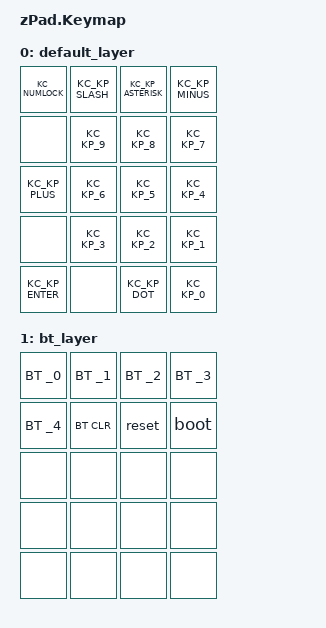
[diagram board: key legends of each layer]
/ {
    keymap {
        compatible = "zmk,keymap";

        default_layer {
            bindings = <
                &kp KC_NUMLOCK  &kp KC_KP_SLASH &kp KC_KP_ASTERISK &kp KC_KP_MINUS
                &none           &kp KC_KP_9     &kp KC_KP_8        &kp KC_KP_7
                &kp KC_KP_PLUS  &kp KC_KP_6     &kp KC_KP_5        &kp KC_KP_4
                &none           &kp KC_KP_3     &kp KC_KP_2        &kp KC_KP_1
                &kp KC_KP_ENTER &none           &kp KC_KP_DOT      &kp KC_KP_0
            >;
        };

        bt_layer {
            bindings = <
                &bt BT_SEL_0 &bt BT_SEL_1 &bt BT_SEL_2 &bt BT_SEL_3
                &bt BT_SEL_4 &bt BT_CLR   &reset       &boot
                &none        &none        &none        &none
                &none        &none        &none        &none
                &none        &none        &none        &none
            >;
        };
    };
};
